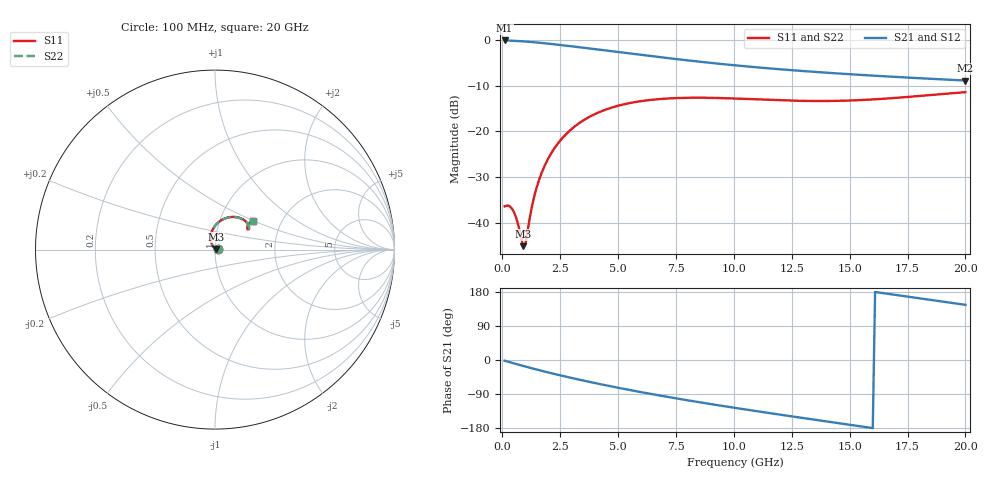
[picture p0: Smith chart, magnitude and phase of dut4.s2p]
! Touchstone file exported from HFSS 2024.1.0
!  File:  C:/UserFiles/LocalFiles/RDL_TSV_Batchsim/temp_RDL_TSV_4_1779395695.aedt
!  Generated:  04:49:16 AM May 22, 2026
!  Design:  RDL_TSV
!  Project:  temp_RDL_TSV_4_1779395695
!  Setup:  Setup1
!  Solution:  Sweep
! Variables:
!  dtsv = 10.47um
!  hbump = 3um
!  htsv = 62.48um
!  ldown = 594.47um
!  lrdl = 379.79um
!  p = 40
!  p1 = 43.93um
!  rhole = 10um
!  subl = 3302.57um
!  t = 450um
!  tdown = 2.96um
!  trdl = 4.16um
!  viad = 10um
!  wdown = 24.6um
!  wrdl = 22.75um
!  xbump = 18um
# GHz S MA R 50.000000
! Terminal data exported
! Port[1] = TM1_1_T1
! Port[2] = TM1_4_T1
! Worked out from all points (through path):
!   200 points, 100 MHz to 20 GHz, reference 50 ohm
!   highest |S21| = -0.14 dB at 100 MHz (marker M1); lowest = -8.9 dB at 20 GHz (marker M2)
!   group delay of S21, straight-line fit = 28.3 ps
!   lowest |S11| = -45.1 dB at 900 MHz (marker M3), VSWR 1.01, Z = 50.4 + j0.399 ohm
!   |S11| at or under -10 dB: start of sweep to end of sweep
!   |S22| runs from -45.1 to -11.5 dB; largest |S21 - S12| = 1.4e-14
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0.1  0.01509 3.4  0.9845 -1.8  0.9845 -1.8  0.01509 3.4
! Gamma 0 0 0 0
! Port Impedance 50 0 50 0
0.3  0.01527 4.2  0.9808 -5.4  0.9808 -5.4  0.01527 4.2
0.5  0.01312 3.7  0.9757 -8.9  0.9757 -8.9  0.01313 3.7
0.7  0.009208 10.2  0.9697 -12.3  0.9697 -12.3  0.009229 10.1
0.9  0.005541 45.7  0.9624 -15.6  0.9624 -15.6  0.005557 45.2
1  0.005873 79.9  0.9584 -17.3  0.9584 -17.3  0.005856 79.3
1.2  0.01178 114.1  0.9496 -20.6  0.9496 -20.6  0.0117 113.8
1.4  0.02034 120.9  0.94 -23.8  0.94 -23.8  0.02022 120.8
1.6  0.03002 121.1  0.9296 -27.0  0.9296 -27.0  0.02987 121.0
1.9  0.04576 117.6  0.9133 -31.6  0.9133 -31.6  0.04555 117.5
2.2  0.06227 112.7  0.8962 -36.1  0.8962 -36.1  0.06201 112.6
2.6  0.08456 105.6  0.8729 -41.9  0.8729 -41.9  0.08422 105.6
3.5  0.1316 90.3  0.8203 -54.2  0.8203 -54.2  0.1311 90.2
4.2  0.1624 79.7  0.7802 -63.3  0.7802 -63.3  0.1618 79.7
4.9  0.1871 70.4  0.7416 -72.0  0.7416 -72.0  0.1864 70.4
6.8  0.2252 51.0  0.6469 -93.8  0.6469 -93.8  0.2243 51.0
8.4  0.2328 40.2  0.581 -110.4  0.581 -110.4  0.2318 40.2
10.1  0.2279 33.5  0.5249 -126.8  0.5249 -126.8  0.2269 33.4
11.7  0.2197 31.1  0.4832 -141.6  0.4832 -141.6  0.2186 31.0
13.4  0.2144 31.8  0.4478 -156.8  0.4478 -156.8  0.2133 31.8
16.7  0.229 36.6  0.3967 174.2  0.3967 174.2  0.228 36.7
20  0.2678 36.9  0.359 145.6  0.359 145.6  0.267 37.0
